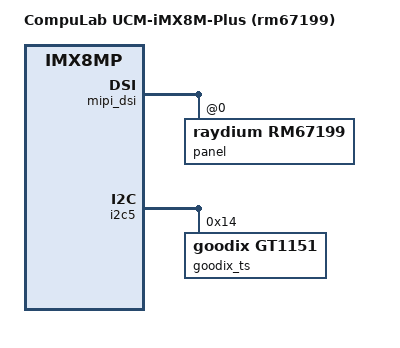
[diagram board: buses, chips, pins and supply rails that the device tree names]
/dts-v1/;

#include "ucm-imx8m-plus.dts"

/ {
	model = "CompuLab UCM-iMX8M-Plus (rm67199)";
	compatible = "compulab,ucm-imx8m-plus", "fsl,imx8mp";
};

&mipi_dsi {
	panel@0 {
		compatible = "raydium,rm67199";
		dsi-lanes = <4>;
		video-mode = <2>;	/* 0: burst mode
					 * 1: non-burst mode with sync event
					 * 2: non-burst mode with sync pulse
					 */
		panel-width-mm = <68>;
		panel-height-mm = <121>;
	};
};

&i2c5 {
	goodix_ts@14 {
		compatible = "goodix,gt1151";
		reg = <0x14>;
		edge-failling-trigger;
		touchscreen-size-x = <1080>;
		touchscreen-size-y = <1920>;
	};
};
